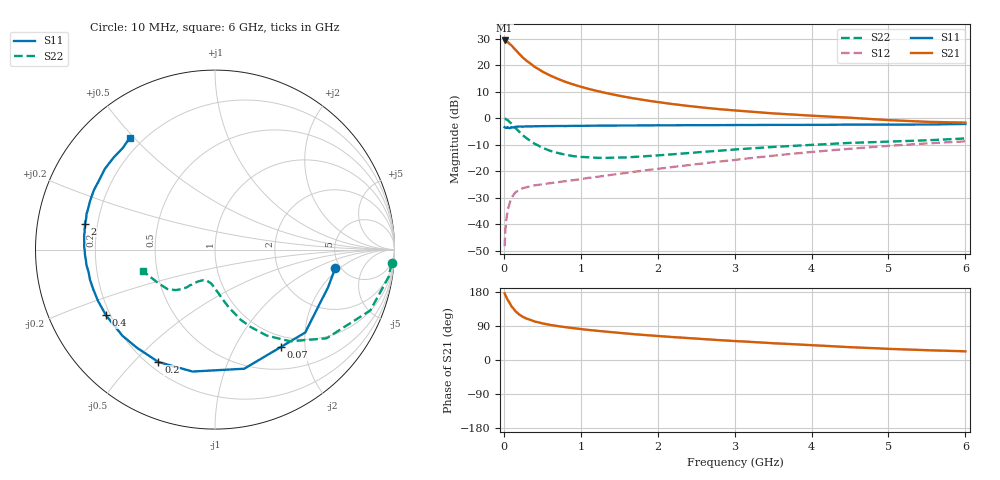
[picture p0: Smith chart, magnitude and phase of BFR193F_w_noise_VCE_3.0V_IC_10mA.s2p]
! Infineon Technologies  Discrete & RF Semiconductors
! BFR193F
! VCE =  3.0 V,  IC =  10 mA
! Common Emitter S-Parameters:  Jan 2017
# GHz  S  MA  R  50
!  f  S11  S21  S12  S22
! GHz  MAG  ANG  MAG  ANG  MAG  ANG  MAG  ANG
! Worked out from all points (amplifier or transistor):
!   77 points, 10 MHz to 6 GHz, reference 50 ohm
!   highest |S21| = 29.3 dB at 10 MHz (marker M1)
!   |S21| within 3 dB of that: start of sweep to 134.3 MHz
!   unconditionally stable (mu >= 1): 1.531 GHz to 2.934 GHz
!   at 130 MHz: K = 0.18, MSG = 27.6 dB, |S12| = -28.7 dB
!   at 2.2 GHz: K = 1.05, MAG = 10.5 dB, |S12| = -18.3 dB
!   at 6 GHz: K = 0.82, MSG = 3.5 dB, |S12| = -8.7 dB
!   lowest NFmin = 0.87 dB at 450 MHz
!   S11 on the Smith chart (normalised r, x): 10 MHz: 4.56, -1.69; 70 MHz: 0.82, -1.56; 200 MHz: 0.24, -0.59; 400 MHz: 0.18, -0.27; 2 GHz: 0.15, +0.10; 6 GHz: 0.15, +0.48
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0.01  0.6783 -8.5  29.3 176.0  0.0039 83.3  0.9864 -4.5
0.02  0.6642 -18.3  28.75 171.1  0.0077 82.1  0.9796 -8.9
0.05  0.6828 -42.6  27.55 158.7  0.0184 73.7  0.9292 -21.4
0.07  0.6551 -56.0  25.7 152.4  0.0236 65.5  0.8661 -27.6
0.1  0.6834 -76.2  23.61 141.3  0.0319 58.5  0.7939 -38.5
0.15  0.6908 -100.4  19.59 129.0  0.04 49.3  0.6613 -50.6
0.2  0.7012 -116.7  16.39 120.0  0.0451 43.8  0.5586 -59.0
0.25  0.6987 -128.5  13.85 113.6  0.0483 40.3  0.4754 -65.2
0.3  0.7046 -137.1  11.99 108.8  0.0506 39.0  0.4164 -69.9
0.4  0.7092 -148.9  9.342 101.6  0.0546 37.6  0.3319 -76.5
0.5  0.7118 -156.5  7.618 96.7  0.0571 38.5  0.2797 -81.3
0.6  0.7135 -162.0  6.428 92.7  0.0599 39.8  0.2449 -85.3
0.7  0.7166 -166.5  5.55 89.5  0.0624 41.9  0.2229 -88.9
0.9  0.7212 -173.1  4.359 84.1  0.0683 45.9  0.1944 -95.1
1.1  0.7249 -177.7  3.59 79.4  0.0754 49.8  0.1846 -100.4
1.5  0.7314 175.4  2.663 71.6  0.0898 55.8  0.1822 -109.5
2  0.7391 168.7  2.025 63.4  0.1116 61.7  0.2003 -117.8
2.1  0.7386 167.7  1.936 62.0  0.1164 62.5  0.2052 -118.9
3.1  0.7476 157.7  1.373 49.0  0.1707 67.8  0.2643 -127.1
4.1  0.7538 147.9  1.102 38.1  0.2389 67.5  0.3211 -135.7
5.1  0.7627 136.8  0.912 28.7  0.3092 63.2  0.3682 -149.9
6  0.7823 127.5  0.829 22.9  0.3678 57.8  0.4175 -163.1
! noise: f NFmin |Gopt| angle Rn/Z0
0.45  0.87  0.25  139  0.07
0.9  1  0.38  152  0.07
1.9  1.7  0.59  -176  0.06
2.4  2.05  0.63  -165  0.08
